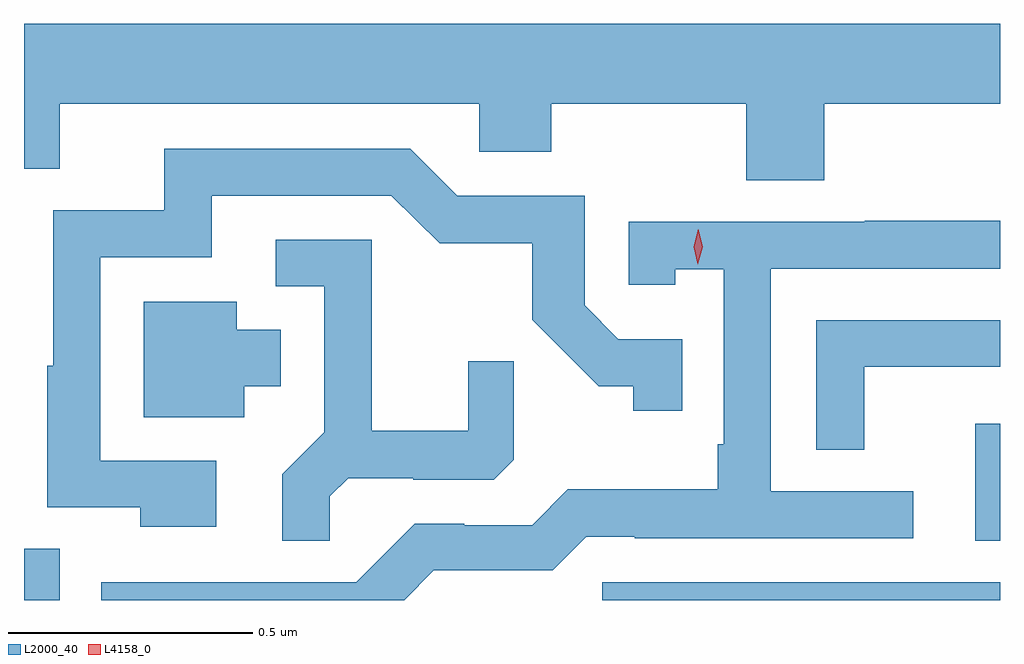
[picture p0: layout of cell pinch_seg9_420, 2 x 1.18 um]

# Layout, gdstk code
import gdstk
lib = gdstk.Library(unit=1e-6, precision=1e-09)
def R(c, l, rs):  # rectangles x0, y0, x1, y1
    for r in rs: c.add(gdstk.rectangle(r[:2], r[2:], *l))
def P(c, l, *ps):  # polygons
    for p in ps: c.add(gdstk.Polygon(p, *l))
L2000_40 = (2000, 40)
L4158_0 = (4158, 0)

pinch_seg9_420 = lib.new_cell('pinch_seg9_420')
R(pinch_seg9_420, L2000_40, [(349.332,1218.047,349.405,1218.152), (350.517,1218.047,351.332,1218.084), (351.281,1218.169,351.332,1218.408)])
P(pinch_seg9_420, L2000_40, [(350.972,1219.064),(351.332,1219.064),(351.332,1219.228),(349.332,1219.228),(349.332,1218.931),(349.405,1218.931),(349.405,1219.064),(350.265,1219.064),(350.265,1218.966),(350.412,1218.966),(350.412,1219.064),(350.812,1219.064),(350.812,1218.907),(350.972,1218.907)],
  [(349.726,1218.333),(349.488,1218.333),(349.488,1218.75),(349.717,1218.75),(349.717,1218.876),(350.085,1218.876),(350.184,1218.778),(350.373,1218.778),(350.373,1218.622),(350.51,1218.485),(350.58,1218.485),(350.58,1218.435),(350.681,1218.435),(350.681,1218.582),(350.55,1218.582),(350.481,1218.651),(350.481,1218.876),(350.22,1218.876),(350.124,1218.972),(349.619,1218.972),(349.619,1218.846),(349.392,1218.846),(349.392,1218.527),(349.38,1218.527),(349.38,1218.237),(349.57,1218.237),(349.57,1218.197),(349.726,1218.197)],
  [(350.172,1218.108),(350.415,1218.108),(350.484,1218.177),(350.584,1218.177),(350.584,1218.174),(351.154,1218.174),(351.154,1218.27),(350.862,1218.27),(350.862,1218.726),(351.332,1218.726),(351.332,1218.825),(351.055,1218.825),(351.055,1218.822),(350.571,1218.822),(350.571,1218.693),(350.667,1218.693),(350.667,1218.725),(350.766,1218.725),(350.766,1218.367),(350.754,1218.367),(350.754,1218.274),(350.446,1218.274),(350.373,1218.201),(350.234,1218.201),(350.234,1218.204),(350.133,1218.204),(350.013,1218.084),(349.49,1218.084),(349.49,1218.047),(350.111,1218.047)],
  [(349.959,1218.26),(349.996,1218.297),(350.13,1218.297),(350.13,1218.294),(350.295,1218.294),(350.336,1218.335),(350.336,1218.537),(350.242,1218.537),(350.242,1218.394),(350.045,1218.394),(350.045,1218.786),(349.848,1218.786),(349.848,1218.69),(349.947,1218.69),(349.947,1218.391),(349.861,1218.305),(349.861,1218.169),(349.959,1218.169)],
  [(349.783,1218.485),(349.858,1218.485),(349.858,1218.601),(349.768,1218.601),(349.768,1218.658),(349.577,1218.658),(349.577,1218.422),(349.783,1218.422)],
  [(351.054,1218.525),(351.332,1218.525),(351.332,1218.621),(350.955,1218.621),(350.955,1218.355),(351.054,1218.355)])
P(pinch_seg9_420, L4158_0, [(350.713,1218.735),(350.713,1218.735),(350.704,1218.771),(350.714,1218.807),(350.714,1218.807),(350.714,1218.807),(350.723,1218.771),(350.713,1218.735)])

lib.write_gds('pinch_seg9_420.gds')
